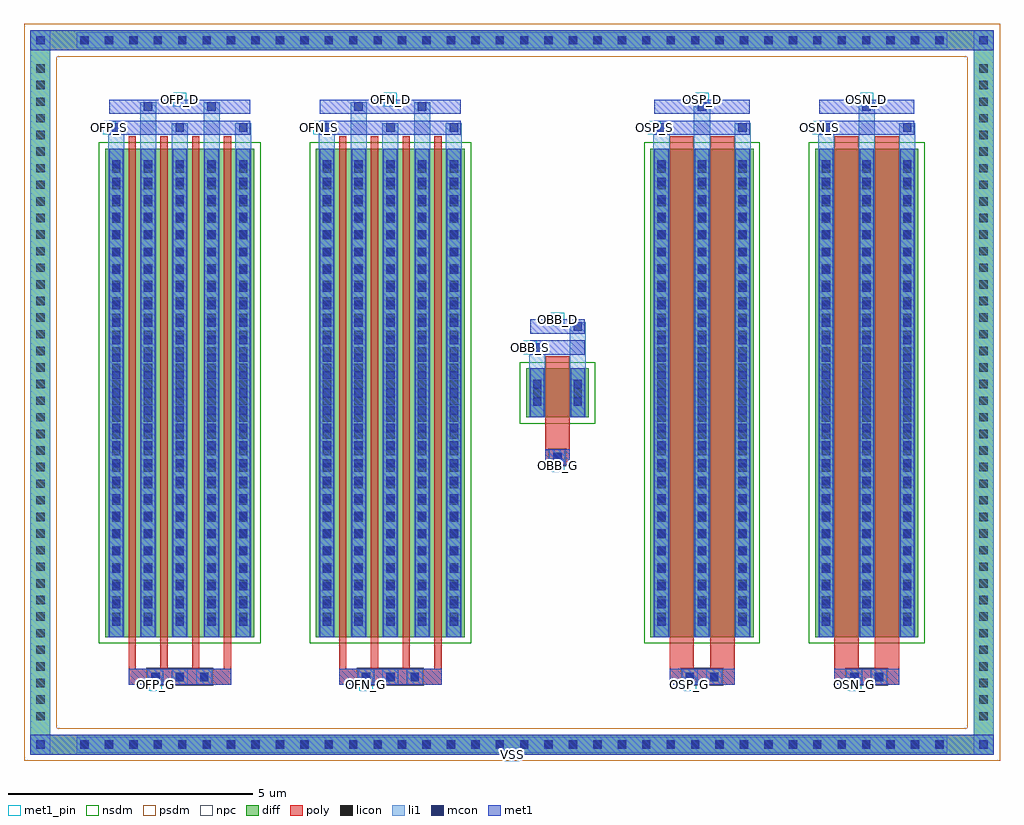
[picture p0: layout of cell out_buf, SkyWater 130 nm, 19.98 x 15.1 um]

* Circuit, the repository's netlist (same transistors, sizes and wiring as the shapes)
.subckt out_buf OFP_D OFP_G OFP_S OFN_D OFN_G OFN_S OBB_D OBB_G OBB_S OSP_D OSP_G OSP_S OSN_D OSN_G OSN_S VSS
XOFP OFP_D OFP_G OFP_S VSS sky130_fd_pr__nfet_01v8 W=40.0 L=0.15 nf=4 m=1
XOFN OFN_D OFN_G OFN_S VSS sky130_fd_pr__nfet_01v8 W=40.0 L=0.15 nf=4 m=1
XOBB OBB_D OBB_G OBB_S VSS sky130_fd_pr__nfet_01v8 W=1.0 L=0.5 nf=1 m=1
XOSP OSP_D OSP_G OSP_S VSS sky130_fd_pr__nfet_01v8 W=20.0 L=0.5 nf=2 m=1
XOSN OSN_D OSN_G OSN_S VSS sky130_fd_pr__nfet_01v8 W=20.0 L=0.5 nf=2 m=1
.ends out_buf

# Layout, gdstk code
import gdstk
lib = gdstk.Library(unit=1e-6, precision=5e-09)
def R(c, l, rs):  # rectangles x0, y0, x1, y1
    for r in rs: c.add(gdstk.rectangle(r[:2], r[2:], *l))
def A(c, l, x, y, w, h, nx, ny, dx, dy):  # array of equal rectangles
    R(c, l, [(x+i*dx, y+j*dy, x+i*dx+w, y+j*dy+h) for i in range(nx) for j in range(ny)])
def P(c, l, *ps):  # polygons
    for p in ps: c.add(gdstk.Polygon(p, *l))
diff = (65, 20)
poly = (66, 20)
licon = (66, 44)
li1 = (67, 20)
mcon = (67, 44)
met1_pin = (68, 16)
met1 = (68, 20)
nsdm = (93, 44)
psdm = (94, 20)
npc = (95, 20)

out_buf = lib.new_cell('out_buf')
A(out_buf, diff, -0.495, -7.405, 0.41, 0.41, 36, 2, 0.5, 14.42)
A(out_buf, diff, -1.4, -6.825, 0.41, 0.41, 1, 40, 0, 0.34)
A(out_buf, diff, 17.91, -6.825, 0.41, 0.41, 1, 40, 0, 0.34)
R(out_buf, diff, [(-0.495,-7.405,17.415,-6.995), (-1.4,-6.825,-0.99,6.845), (17.91,-6.825,18.32,6.845), (0.135,-5,3.185,5), (4.445,-5,7.495,5), (11.295,-5,13.405,5), (14.665,-5,16.775,5), (8.75,-0.5,10.03,0.5), (-0.495,7.015,17.415,7.425)])
P(out_buf, diff, [(18.32,7.425),(-1.4,7.425),(-1.4,-6.995),(-0.99,-6.995),(-0.99,7.015),(17.91,7.015),(17.91,-6.995),(-0.99,-6.995),(-1.4,-6.995),(-1.4,-7.405),(18.32,-7.405)])
A(out_buf, poly, 0.995, -5.98, 0.33, 0.33, 3, 1, 0.5, 0)
A(out_buf, poly, 5.305, -5.98, 0.33, 0.33, 3, 1, 0.5, 0)
A(out_buf, poly, 0.61, -5.65, 0.15, 0.4, 4, 1, 0.65, 0)
A(out_buf, poly, 4.92, -5.65, 0.15, 0.4, 4, 1, 0.65, 0)
A(out_buf, poly, 0.61, -5.25, 0.15, 10.5, 4, 1, 0.65, 0)
A(out_buf, poly, 4.92, -5.25, 0.15, 10.5, 4, 1, 0.65, 0)
R(out_buf, poly, [(0.61,-5.98,2.71,-5.65), (4.92,-5.98,7.02,-5.65), (11.685,-5.98,13.015,-5.65), (11.935,-5.98,12.265,-5.65), (12.435,-5.98,12.765,-5.65), (15.055,-5.98,16.385,-5.65), (15.305,-5.98,15.635,-5.65), (15.805,-5.98,16.135,-5.65), (11.685,-5.65,12.185,-5.25), (12.515,-5.65,13.015,-5.25), (15.055,-5.65,15.555,-5.25), (15.885,-5.65,16.385,-5.25), (11.685,-5.25,12.185,5.25), (12.515,-5.25,13.015,5.25), (15.055,-5.25,15.555,5.25), (15.885,-5.25,16.385,5.25), (9.14,-1.48,9.64,-1.15), (9.225,-1.48,9.555,-1.15), (9.14,-1.15,9.64,-0.75), (9.14,-0.75,9.64,0.75)])
A(out_buf, licon, -0.375, -7.285, 0.17, 0.17, 36, 2, 0.5, 14.42)
A(out_buf, licon, -1.28, -6.705, 0.17, 0.17, 1, 40, 0, 0.34)
A(out_buf, licon, 18.03, -6.705, 0.17, 0.17, 1, 40, 0, 0.34)
A(out_buf, licon, 1.075, -5.9, 0.17, 0.17, 3, 1, 0.5, 0)
A(out_buf, licon, 5.385, -5.9, 0.17, 0.17, 3, 1, 0.5, 0)
A(out_buf, licon, 0.275, -4.675, 0.17, 0.17, 5, 28, 0.65, 0.34)
A(out_buf, licon, 4.585, -4.675, 0.17, 0.17, 5, 28, 0.65, 0.34)
A(out_buf, licon, 11.435, -4.675, 0.17, 0.17, 3, 28, 0.83, 0.34)
A(out_buf, licon, 14.805, -4.675, 0.17, 0.17, 3, 28, 0.83, 0.34)
R(out_buf, licon, [(12.015,-5.9,12.185,-5.73), (12.515,-5.9,12.685,-5.73), (15.385,-5.9,15.555,-5.73), (15.885,-5.9,16.055,-5.73), (9.305,-1.4,9.475,-1.23), (8.89,-0.085,9.06,0.085), (9.72,-0.085,9.89,0.085)])
A(out_buf, li1, -0.455, -7.365, 0.33, 0.33, 36, 2, 0.5, 14.42)
A(out_buf, li1, -1.36, -6.785, 0.33, 0.33, 1, 40, 0, 0.34)
A(out_buf, li1, 17.95, -6.785, 0.33, 0.33, 1, 40, 0, 0.34)
A(out_buf, li1, 0.995, -5.98, 0.33, 0.33, 3, 1, 0.5, 0)
A(out_buf, li1, 5.305, -5.98, 0.33, 0.33, 3, 1, 0.5, 0)
A(out_buf, li1, 0.195, -5, 0.33, 10, 5, 1, 0.65, 0)
A(out_buf, li1, 4.505, -5, 0.33, 10, 5, 1, 0.65, 0)
A(out_buf, li1, 11.355, -5, 0.33, 10, 3, 1, 0.83, 0)
A(out_buf, li1, 14.725, -5, 0.33, 10, 3, 1, 0.83, 0)
A(out_buf, li1, 0.275, -4.765, 0.17, 0.17, 5, 27, 0.65, 0.36)
A(out_buf, li1, 0.275, -4.765, 0.17, 9.53, 5, 1, 0.65, 0)
A(out_buf, li1, 4.585, -4.765, 0.17, 0.17, 5, 27, 0.65, 0.36)
A(out_buf, li1, 4.585, -4.765, 0.17, 9.53, 5, 1, 0.65, 0)
A(out_buf, li1, 11.435, -4.765, 0.17, 0.17, 3, 27, 0.83, 0.36)
A(out_buf, li1, 11.435, -4.765, 0.17, 9.53, 3, 1, 0.83, 0)
A(out_buf, li1, 14.805, -4.765, 0.17, 0.17, 3, 27, 0.83, 0.36)
A(out_buf, li1, 14.805, -4.765, 0.17, 9.53, 3, 1, 0.83, 0)
A(out_buf, li1, 0.195, -4.755, 0.33, 0.33, 5, 28, 0.65, 0.34)
A(out_buf, li1, 4.505, -4.755, 0.33, 0.33, 5, 28, 0.65, 0.34)
A(out_buf, li1, 11.355, -4.755, 0.33, 0.33, 3, 28, 0.83, 0.34)
A(out_buf, li1, 14.725, -4.755, 0.33, 0.33, 3, 28, 0.83, 0.34)
A(out_buf, li1, 0.195, 5, 0.33, 0.515, 3, 1, 1.3, 0)
A(out_buf, li1, 4.505, 5, 0.33, 0.515, 3, 1, 1.3, 0)
A(out_buf, li1, 0.275, 5.345, 0.17, 0.17, 3, 1, 1.3, 0)
A(out_buf, li1, 4.585, 5.345, 0.17, 0.17, 3, 1, 1.3, 0)
R(out_buf, li1, [(-1.4,-7.405,-0.99,-6.995), (17.91,-7.405,18.32,-6.995), (-0.455,-7.365,17.375,-7.035), (-1.28,-7.285,-1.11,-7.115), (-1.28,-7.285,-1.11,-7.115), (18.03,-7.285,18.2,-7.115), (18.03,-7.285,18.2,-7.115), (-1.4,-6.995,-0.99,7.015), (17.91,-6.995,18.32,7.015), (11.935,-5.98,12.265,-5.65), (12.435,-5.98,12.765,-5.65), (15.305,-5.98,15.635,-5.65), (15.805,-5.98,16.135,-5.65), (9.225,-1.48,9.555,-1.15), (8.81,-0.5,9.14,0.5), (9.64,-0.5,9.97,0.5), (8.89,-0.265,9.06,-0.095), (8.89,-0.265,9.06,0.265), (9.72,-0.265,9.89,-0.095), (9.72,-0.265,9.89,0.265), (8.81,-0.165,9.14,0.165), (9.64,-0.165,9.97,0.165), (8.89,0.095,9.06,0.265), (9.72,0.095,9.89,0.265), (8.81,0.5,9.14,1.015), (9.64,0.5,9.97,1.445), (8.89,0.845,9.06,1.015), (9.72,1.275,9.89,1.445), (0.845,5,1.175,5.945), (2.145,5,2.475,5.945), (5.155,5,5.485,5.945), (6.455,5,6.785,5.945), (11.355,5,11.685,5.515), (12.185,5,12.515,5.945), (13.015,5,13.345,5.515), (14.725,5,15.055,5.515), (15.555,5,15.885,5.945), (16.385,5,16.715,5.515), (11.435,5.345,11.605,5.515), (13.095,5.345,13.265,5.515), (14.805,5.345,14.975,5.515), (16.465,5.345,16.635,5.515), (0.925,5.775,1.095,5.945), (2.225,5.775,2.395,5.945), (5.235,5.775,5.405,5.945), (6.535,5.775,6.705,5.945), (12.265,5.775,12.435,5.945), (15.635,5.775,15.805,5.945), (-1.4,7.015,-0.99,7.425), (17.91,7.015,18.32,7.425), (-0.455,7.055,17.375,7.385), (-1.28,7.135,-1.11,7.305), (-1.28,7.135,-1.11,7.305), (18.03,7.135,18.2,7.305), (18.03,7.135,18.2,7.305)])
A(out_buf, mcon, -0.375, -7.285, 0.17, 0.17, 36, 2, 0.5, 14.42)
A(out_buf, mcon, 1.075, -5.9, 0.17, 0.17, 3, 1, 0.5, 0)
A(out_buf, mcon, 5.385, -5.9, 0.17, 0.17, 3, 1, 0.5, 0)
A(out_buf, mcon, 0.275, -4.765, 0.17, 0.17, 5, 27, 0.65, 0.36)
A(out_buf, mcon, 4.585, -4.765, 0.17, 0.17, 5, 27, 0.65, 0.36)
A(out_buf, mcon, 11.435, -4.765, 0.17, 0.17, 3, 27, 0.83, 0.36)
A(out_buf, mcon, 14.805, -4.765, 0.17, 0.17, 3, 27, 0.83, 0.36)
A(out_buf, mcon, 0.275, 5.345, 0.17, 0.17, 3, 1, 1.3, 0)
A(out_buf, mcon, 4.585, 5.345, 0.17, 0.17, 3, 1, 1.3, 0)
R(out_buf, mcon, [(-1.28,-7.285,-1.11,-7.115), (18.03,-7.285,18.2,-7.115), (12.015,-5.9,12.185,-5.73), (12.515,-5.9,12.685,-5.73), (15.385,-5.9,15.555,-5.73), (15.885,-5.9,16.055,-5.73), (9.305,-1.4,9.475,-1.23), (8.89,-0.265,9.06,-0.095), (9.72,-0.265,9.89,-0.095), (8.89,0.095,9.06,0.265), (9.72,0.095,9.89,0.265), (8.89,0.845,9.06,1.015), (9.72,1.275,9.89,1.445), (11.435,5.345,11.605,5.515), (13.095,5.345,13.265,5.515), (14.805,5.345,14.975,5.515), (16.465,5.345,16.635,5.515), (0.925,5.775,1.095,5.945), (2.225,5.775,2.395,5.945), (5.235,5.775,5.405,5.945), (6.535,5.775,6.705,5.945), (12.265,5.775,12.435,5.945), (15.635,5.775,15.805,5.945), (-1.28,7.135,-1.11,7.305), (18.03,7.135,18.2,7.305)])
R(out_buf, met1_pin, [(8.325,-7.54,8.595,-7.27), (1.025,-6.095,1.295,-5.825), (5.335,-6.095,5.605,-5.825), (11.965,-6.095,12.235,-5.825), (15.335,-6.095,15.605,-5.825), (9.255,-1.615,9.525,-1.345), (8.695,0.795,8.965,1.065), (9.255,1.37,9.525,1.64), (0.08,5.295,0.35,5.565), (4.39,5.295,4.66,5.565), (11.24,5.295,11.51,5.565), (14.61,5.295,14.88,5.565), (1.525,5.87,1.795,6.14), (5.835,5.87,6.105,6.14), (12.215,5.87,12.485,6.14), (15.585,5.87,15.855,6.14)])
A(out_buf, met1, -0.435, -7.345, 0.29, 0.29, 36, 2, 0.5, 14.42)
A(out_buf, met1, 1.015, -5.96, 0.29, 0.29, 3, 1, 0.5, 0)
A(out_buf, met1, 5.325, -5.96, 0.29, 0.29, 3, 1, 0.5, 0)
A(out_buf, met1, 0.215, -5, 0.29, 10, 5, 1, 0.65, 0)
A(out_buf, met1, 4.525, -5, 0.29, 10, 5, 1, 0.65, 0)
A(out_buf, met1, 11.375, -5, 0.29, 10, 3, 1, 0.83, 0)
A(out_buf, met1, 14.745, -5, 0.29, 10, 3, 1, 0.83, 0)
A(out_buf, met1, 0.215, -4.825, 0.29, 0.29, 5, 27, 0.65, 0.36)
A(out_buf, met1, 4.525, -4.825, 0.29, 0.29, 5, 27, 0.65, 0.36)
A(out_buf, met1, 11.375, -4.825, 0.29, 0.29, 3, 27, 0.83, 0.36)
A(out_buf, met1, 14.745, -4.825, 0.29, 0.29, 3, 27, 0.83, 0.36)
A(out_buf, met1, 0.215, 5.285, 0.29, 0.29, 3, 1, 1.3, 0)
A(out_buf, met1, 4.525, 5.285, 0.29, 0.29, 3, 1, 1.3, 0)
R(out_buf, met1, [(-1.4,-7.405,-0.99,-6.995), (-1.4,-7.405,-0.99,-6.995), (-0.99,-7.405,17.91,-6.995), (17.91,-7.405,18.32,-6.995), (17.91,-7.405,18.32,-6.995), (-1.34,-7.345,-1.05,-7.055), (17.97,-7.345,18.26,-7.055), (0.61,-5.98,2.71,-5.65), (4.92,-5.98,7.02,-5.65), (11.685,-5.98,13.015,-5.65), (15.055,-5.98,16.385,-5.65), (11.955,-5.96,12.245,-5.67), (12.455,-5.96,12.745,-5.67), (15.325,-5.96,15.615,-5.67), (15.825,-5.96,16.115,-5.67), (9.14,-1.48,9.64,-1.15), (9.245,-1.46,9.535,-1.17), (8.83,-0.5,9.12,0.5), (9.66,-0.5,9.95,0.5), (8.83,-0.325,9.12,-0.035), (9.66,-0.325,9.95,-0.035), (8.83,0.035,9.12,0.325), (9.66,0.035,9.95,0.325), (8.83,0.785,9.12,1.075), (8.83,0.785,9.95,1.075), (8.83,1.215,9.95,1.505), (9.66,1.215,9.95,1.505), (0.215,5.285,3.105,5.575), (4.525,5.285,7.415,5.575), (11.375,5.285,11.665,5.575), (11.375,5.285,13.325,5.575), (13.035,5.285,13.325,5.575), (14.745,5.285,15.035,5.575), (14.745,5.285,16.695,5.575), (16.405,5.285,16.695,5.575), (0.215,5.715,3.105,6.005), (0.865,5.715,1.155,6.005), (2.165,5.715,2.455,6.005), (4.525,5.715,7.415,6.005), (5.175,5.715,5.465,6.005), (6.475,5.715,6.765,6.005), (11.375,5.715,13.325,6.005), (12.205,5.715,12.495,6.005), (14.745,5.715,16.695,6.005), (15.575,5.715,15.865,6.005), (-1.4,7.015,-0.99,7.425), (-1.4,7.015,-0.99,7.425), (-0.99,7.015,17.91,7.425), (17.91,7.015,18.32,7.425), (17.91,7.015,18.32,7.425), (-1.34,7.075,-1.05,7.365), (17.97,7.075,18.26,7.365)])
R(out_buf, nsdm, [(0.005,-5.13,3.315,5.13), (4.315,-5.13,7.625,5.13), (11.165,-5.13,13.535,5.13), (14.535,-5.13,16.905,5.13), (8.62,-0.63,10.16,0.63)])
P(out_buf, psdm, [(18.45,7.555),(-1.53,7.555),(-1.53,-6.865),(-0.86,-6.865),(-0.86,6.885),(17.78,6.885),(17.78,-6.865),(-0.86,-6.865),(-1.53,-6.865),(-1.53,-7.535),(18.45,-7.535)])
A(out_buf, npc, 0.975, -6, 0.37, 0.37, 3, 1, 0.5, 0)
A(out_buf, npc, 5.285, -6, 0.37, 0.37, 3, 1, 0.5, 0)
R(out_buf, npc, [(0.975,-6,1.845,-5.63), (0.975,-6,1.845,-5.63), (1.475,-6,2.345,-5.63), (1.475,-6,2.345,-5.63), (5.285,-6,6.155,-5.63), (5.285,-6,6.155,-5.63), (5.785,-6,6.655,-5.63), (5.785,-6,6.655,-5.63), (11.915,-6,12.285,-5.63), (11.915,-6,12.785,-5.63), (11.915,-6,12.785,-5.63), (12.415,-6,12.785,-5.63), (15.285,-6,15.655,-5.63), (15.285,-6,16.155,-5.63), (15.285,-6,16.155,-5.63), (15.785,-6,16.155,-5.63), (9.205,-1.5,9.575,-1.13), (9.205,-1.5,9.575,-1.13)])
out_buf.add(gdstk.Label('OSN_G', (15.47,-5.96), layer=68, texttype=5))
out_buf.add(gdstk.Label('OSN_S', (14.745,5.43), layer=68, texttype=5))
out_buf.add(gdstk.Label('OSN_D', (15.72,6.005), layer=68, texttype=5))
out_buf.add(gdstk.Label('OSP_G', (12.1,-5.96), layer=68, texttype=5))
out_buf.add(gdstk.Label('OSP_S', (11.375,5.43), layer=68, texttype=5))
out_buf.add(gdstk.Label('OSP_D', (12.35,6.005), layer=68, texttype=5))
out_buf.add(gdstk.Label('OBB_G', (9.39,-1.48), layer=68, texttype=5))
out_buf.add(gdstk.Label('OBB_S', (8.83,0.93), layer=68, texttype=5))
out_buf.add(gdstk.Label('OBB_D', (9.39,1.505), layer=68, texttype=5))
out_buf.add(gdstk.Label('OFN_G', (5.47,-5.96), layer=68, texttype=5))
out_buf.add(gdstk.Label('OFN_S', (4.525,5.43), layer=68, texttype=5))
out_buf.add(gdstk.Label('OFN_D', (5.97,6.005), layer=68, texttype=5))
out_buf.add(gdstk.Label('OFP_G', (1.16,-5.96), layer=68, texttype=5))
out_buf.add(gdstk.Label('OFP_S', (0.215,5.43), layer=68, texttype=5))
out_buf.add(gdstk.Label('OFP_D', (1.66,6.005), layer=68, texttype=5))
out_buf.add(gdstk.Label('VSS', (8.46,-7.405), layer=68, texttype=5))

lib.write_gds('out_buf.gds')
